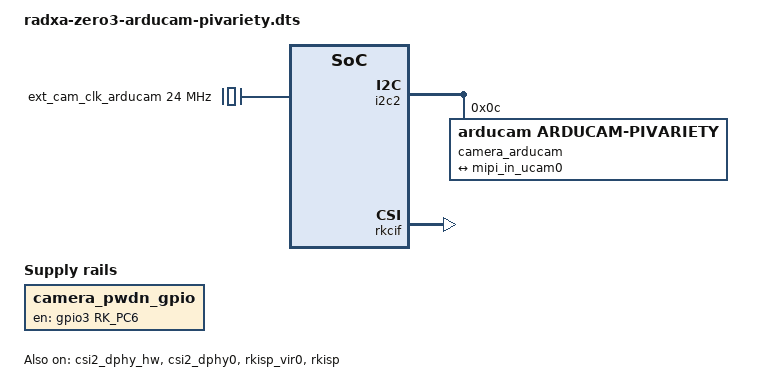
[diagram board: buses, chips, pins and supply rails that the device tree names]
/dts-v1/;
/plugin/;

#include <dt-bindings/gpio/gpio.h>
#include <dt-bindings/pinctrl/rockchip.h>
#include <dt-bindings/power/rk3568-power.h>


/ {
	metadata {
		title = "Enable Arducam Pivariety";
		compatible = "radxa,zero3";
		category = "camera";
		exclusive = "csi2_dphy0";
		description = "Enable Arducam Pivariety";
	};
};

&{/} {

	camera_pwdn_gpio: camera-pwdn-gpio {
		status = "okay";
		compatible = "regulator-fixed";
		regulator-name = "camera_pwdn_gpio";
		regulator-always-on;
		regulator-boot-on;
		enable-active-high;
		gpio = <&gpio3 RK_PC6 GPIO_ACTIVE_HIGH>;
	};
		ext_cam_clk_arducam: ext-cam-clk-arducam {
		status = "okay";
		compatible = "fixed-clock";
		clock-frequency = <24000000>;
		clock-output-names = "ext_cam_clk_arducam";
		#clock-cells = <0>;
	};
};

&i2c2 {
	status = "okay";
	pinctrl-names = "default";
	pinctrl-0 = <&i2c2m1_xfer>;
	#address-cells = <1>;
	#size-cells = <0>;

	camera_arducam: camera-arducam@0c {
		status = "okay";
		compatible = "arducam,arducam-pivariety";
		reg = <0x0c>;
		clocks = <&ext_cam_clk_arducam>;
		clock-names = "xclk";
		rockchip,camera-module-index = <0>;
		rockchip,camera-module-facing = "front";
		rockchip,camera-module-name = "arducam-camera";
		rockchip,camera-module-lens-name = "default";

		port {
			arducam_out: endpoint {
				remote-endpoint = <&mipi_in_ucam0>;
				data-lanes = <1 2>;
			};
		};
	};
};

&csi2_dphy_hw {
	status = "okay";
};

&csi2_dphy0 {
	status = "okay";

	ports {
		#address-cells = <1>;
		#size-cells = <0>;

		port@0 {
			reg = <0>;
			#address-cells = <1>;
			#size-cells = <0>;

			mipi_in_ucam0: endpoint@1 {
				reg = <1>;
				remote-endpoint = <&arducam_out>;
				data-lanes = <1 2>;
			};
		};

		port@1 {
			reg = <1>;
			#address-cells = <1>;
			#size-cells = <0>;

			dphy0_out: endpoint@1 {
				reg = <1>;
				remote-endpoint = <&isp0_in>;
			};
		};
	};
};

&rkisp_vir0 {
	status = "okay";

	port {
		#address-cells = <1>;
		#size-cells = <0>;

		isp0_in: endpoint@0 {
			reg = <0>;
			remote-endpoint = <&dphy0_out>;
		};
	};
};

&rkisp {
	status = "okay";
};

&rkisp_mmu {
	status = "okay";
};

&rkcif_mmu {
	status = "okay";
};

&rkcif {
	status = "okay";
};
